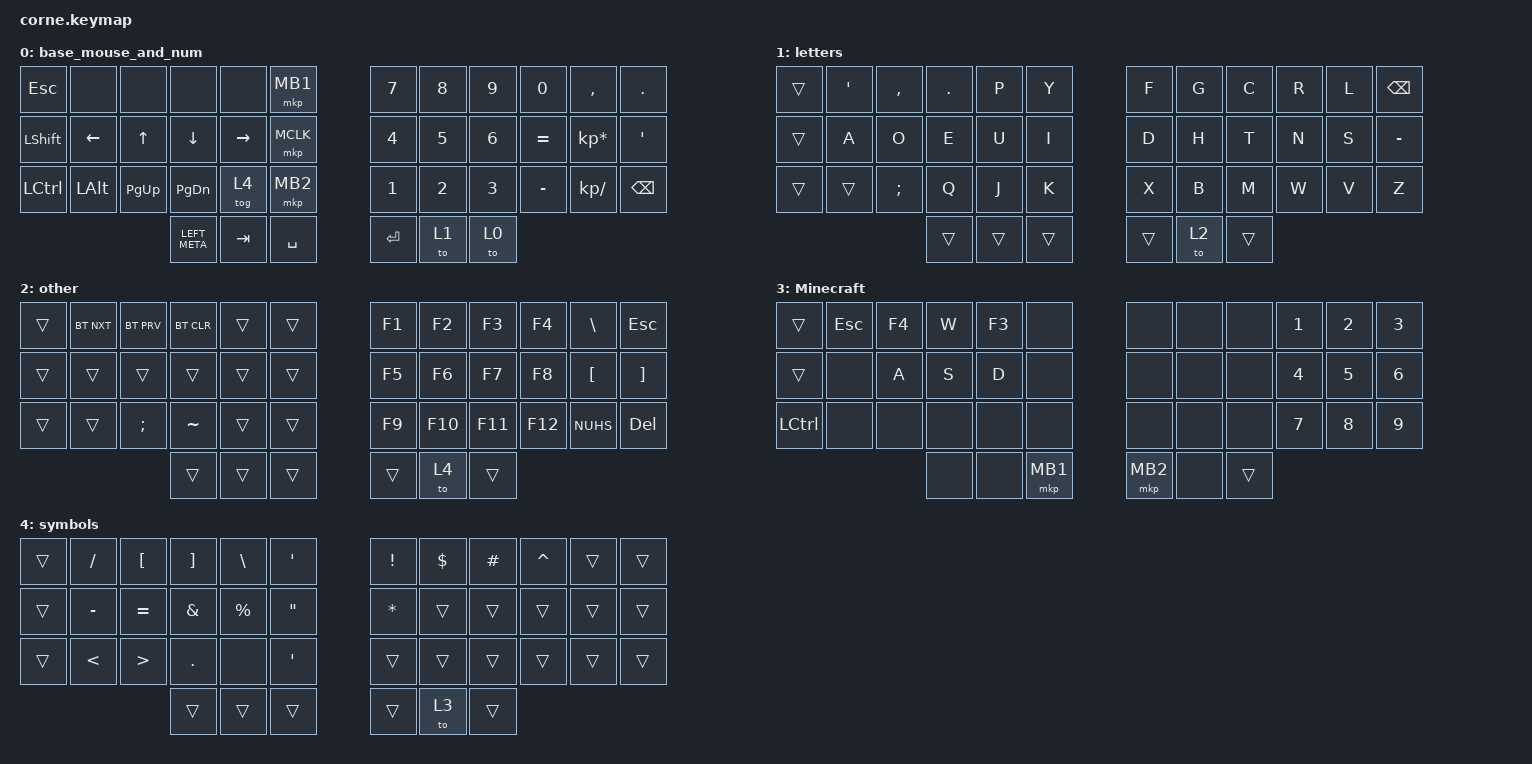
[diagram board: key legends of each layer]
/*
 * Copyright (c) 2020 The ZMK Contributors
 *
 * SPDX-License-Identifier: MIT
 */

#include <dt-bindings/zmk/mouse.h>
#include <behaviors.dtsi>
#include <dt-bindings/zmk/bt.h>
#include <dt-bindings/zmk/keys.h>
#include <dt-bindings/zmk/pointing.h>

/ {
    keymap {
        compatible = "zmk,keymap";

        base_mouse_and_num {
            bindings = <
&kp ESC     &none         &none        &none          &none      &mkp MB1     &kp NUMBER_7  &kp NUMBER_8  &kp NUMBER_9  &kp NUMBER_0  &kp COMMA        &kp DOT
&kp LSHIFT  &kp LEFT      &kp UP       &kp DOWN       &kp RIGHT  &mkp MCLK    &kp N4        &kp N5        &kp NUMBER_6  &kp EQUAL     &kp KP_MULTIPLY  &kp SINGLE_QUOTE
&kp LCTRL   &kp LEFT_ALT  &kp PAGE_UP  &kp PAGE_DOWN  &tog 4     &mkp MB2     &kp N1        &kp N2        &kp N3        &kp MINUS     &kp KP_DIVIDE    &kp BSPC
                                       &kp LEFT_META  &kp TAB    &kp SPACE    &kp ENTER     &to 1         &to 0
            >;
        };

        letters {
            bindings = <
&trans  &kp SINGLE_QUOTE  &kp COMMA  &kp DOT  &kp P   &kp Y     &kp F   &kp G  &kp C   &kp R  &kp L  &kp BSPC
&trans  &kp A             &kp O      &kp E    &kp U   &kp I     &kp D   &kp H  &kp T   &kp N  &kp S  &kp MINUS
&trans  &trans            &kp SEMI   &kp Q    &kp J   &kp K     &kp X   &kp B  &kp M   &kp W  &kp V  &kp Z
                                     &trans   &trans  &trans    &trans  &to 2  &trans
            >;
        };

        other {
            bindings = <
&trans  &bt BT_NXT  &bt BT_PRV  &bt BT_CLR  &trans  &trans    &kp F1  &kp F2   &kp F3   &kp F4   &kp BACKSLASH  &kp ESC
&trans  &trans      &trans      &trans      &trans  &trans    &kp F5  &kp F6   &kp F7   &kp F8   &kp LBKT       &kp RBKT
&trans  &trans      &kp SEMI    &kp TILDE   &trans  &trans    &kp F9  &kp F10  &kp F11  &kp F12  &kp NUHS       &kp DEL
                                &trans      &trans  &trans    &trans  &to 4    &trans
            >;
        };

        Minecraft {
            bindings = <
&trans     &kp ESC  &kp F4  &kp W  &kp F3  &none       &none     &none  &none   &kp N1  &kp N2  &kp N3
&trans     &none    &kp A   &kp S  &kp D   &none       &none     &none  &none   &kp N4  &kp N5  &kp N6
&kp LCTRL  &none    &none   &none  &none   &none       &none     &none  &none   &kp N7  &kp N8  &kp N9
                            &none  &none   &mkp MB1    &mkp MB2  &none  &trans
            >;
        };

        symbols {
            bindings = <
&trans  &kp FSLH       &kp LBKT          &kp RBKT       &kp BSLH     &kp APOS             &kp EXCLAMATION  &kp DOLLAR  &kp HASH  &kp CARET  &trans  &trans
&trans  &kp MINUS      &kp EQUAL         &kp AMPERSAND  &kp PERCENT  &kp DOUBLE_QUOTES    &kp ASTERISK     &trans      &trans    &trans     &trans  &trans
&trans  &kp LESS_THAN  &kp GREATER_THAN  &kp PERIOD     &none        &kp SINGLE_QUOTE     &trans           &trans      &trans    &trans     &trans  &trans
                                         &trans         &trans       &trans               &trans           &to 3       &trans
            >;
        };
    };
};
